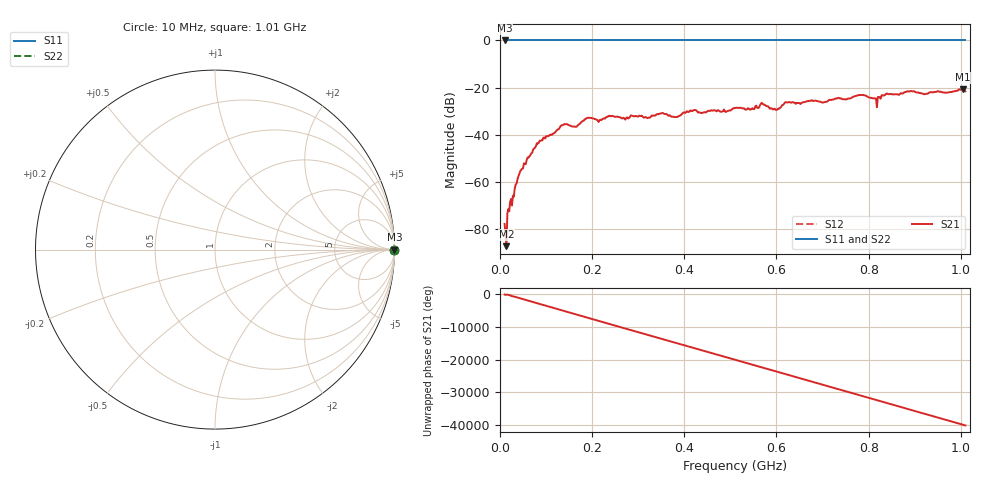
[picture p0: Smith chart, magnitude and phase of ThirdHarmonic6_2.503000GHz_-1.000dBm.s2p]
! 8/17/2025 4:48:59 AM
! C:\ANRITSUVNA\TEMP\TEMP.S2P
! CHANNEL.1
! TR.MEASUREMENT
! RAW.DATA
! RF.CORRECTION.OFF
! AVERAGING.OFF
! IF.BANDWIDTH: 5KHZ
! SWEEPTYPE:  FREQ.SWEEP(Linear)
! Reference Plane Port Info
! PORT:  PORT1  PORT2
! DISTANCE:  0  m  0  m
! TIME:  0  s  0  s
! PHASE.OFFSET:  0  deg.  0  deg.
! LOSS:  0  dB  0  dB
! REF.LOSS:  0  dB  0  dB
! REF.FREQ:  0  Hz  0  Hz
! Power Info
! POWER:  -20  dBm  -20  dBm
! EFF.POWER:  -20  dBm  -20  dBm
! SOURCE.ATTEN:  0  dB  0  dB
! TEST.ATTEN:  0  dB  0  dB
# GHZ S RI R 50.0
! FREQ.GHZ  S11RE  S11IM  S21RE  S21IM  S12RE  S12IM  S22RE  S22IM
!; PortSelection: Port_12
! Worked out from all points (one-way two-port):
!   501 points, 10 MHz to 1.01 GHz, reference 50 ohm
!   highest |S21| = -20.67 dB at 1.004 GHz (marker M1); lowest = -87.1 dB at 14 MHz (marker M2)
!   lowest |S11| = 0.0 dB at 10 MHz (marker M3)
!   |S11| at or under -10 dB: nowhere
!   |S22| runs from 0.0 to 0.0 dB; largest |S21 - S12| = 1.1
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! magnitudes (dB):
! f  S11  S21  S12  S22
! 10 MHz  0.0  -77.7  0.0  0.0
! 14 MHz  0.0  -87.1  0.0  0.0
! 20 MHz  0.0  -72.4  0.0  0.0
! 42 MHz  0.0  -56.4  0.0  0.0
! 82 MHz  0.0  -43.7  0.0  0.0
! 136 MHz  0.0  -35.9  0.0  0.0
! 162 MHz  0.0  -36.5  0.0  0.0
! 178 MHz  0.0  -34.3  0.0  0.0
! 344 MHz  0.0  -31.3  0.0  0.0
! 382 MHz  0.0  -32.4  0.0  0.0
! 418 MHz  0.0  -29.9  0.0  0.0
! 510 MHz  0.0  -28.6  0.0  0.0
! 548 MHz  0.0  -28.7  0.0  0.0
! 570 MHz  0.0  -26.8  0.0  0.0
! 602 MHz  0.0  -29.2  0.0  0.0
! 622 MHz  0.0  -26.2  0.0  0.0
! 678 MHz  0.0  -25.5  0.0  0.0
! 784 MHz  0.0  -23.1  0.0  0.0
! 814 MHz  0.0  -24.5  0.0  0.0
! 844 MHz  0.0  -22.8  0.0  0.0
! 1.004 GHz  0.0  -20.7  0.0  0.0
! 1.01 GHz  0.0  -21.5  0.0  0.0
